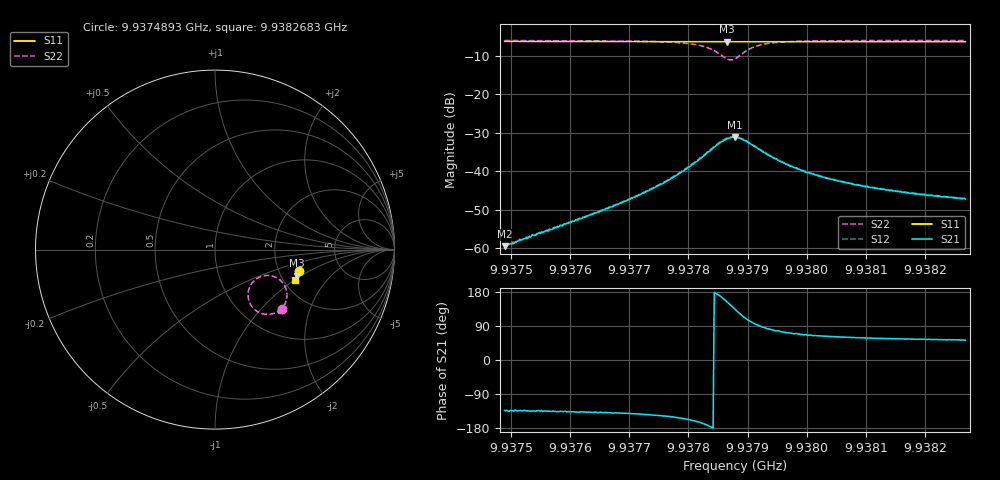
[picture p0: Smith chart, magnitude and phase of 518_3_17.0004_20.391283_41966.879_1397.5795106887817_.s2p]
#  HZ  S  RI  R  50.00
! Rohde & Schwarz Vector Network Analyzer
! Rohde-Schwarz,ZNB20-2Port,1311601062101988,3.16
! Created: UTC 3/20/2024, 11:15:17 PM
! freq[Hz]  re:S11  im:S11  re:S21  im:S21  re:S12  im:S12  re:S22  im:S22
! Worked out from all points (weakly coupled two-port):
!   401 points, 9.9374893 GHz to 9.9382683 GHz, reference 50 ohm
!   highest |S21| = -31.14 dB at 9.9378788 GHz (marker M1); lowest = -59.4 dB at 9.9374893 GHz (marker M2)
!   lowest |S11| = -6.4 dB at 9.9378652 GHz (marker M3), VSWR 2.83, Z = 122 - j45.5 ohm
!   |S11| at or under -10 dB: nowhere
!   |S22| runs from -11.1 to -6.1 dB; largest |S21 - S12| = 0.0012
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9.93748926e9  0.4674 -0.1208  -0.000724 -0.000782  -0.000768 -0.000754  0.3713 -0.3295
9.93750484e9  0.467 -0.1219  -0.000809 -0.000813  -0.000831 -0.000855  0.3699 -0.3308
9.93751652e9  0.4669 -0.1228  -0.000881 -0.000934  -0.000906 -0.000921  0.3688 -0.3319
9.93761975e9  0.4644 -0.1296  -0.00179 -0.00167  -0.00186 -0.00166  0.3555 -0.3414
9.93768987e9  0.4627 -0.1342  -0.00309 -0.00257  -0.00315 -0.00252  0.3409 -0.3501
9.93775025e9  0.461 -0.1385  -0.00548 -0.00365  -0.00564 -0.00362  0.3174 -0.3583
9.93778725e9  0.4598 -0.141  -0.00858 -0.00432  -0.00884 -0.00424  0.29 -0.3608
9.93782231e9  0.4581 -0.1434  -0.0145 -0.00359  -0.0149 -0.0034  0.2413 -0.348
9.93784373e9  0.457 -0.1444  -0.0206 0.000604  -0.0209 0.000942  0.1989 -0.3077
9.93785542e9  0.4561 -0.1446  -0.0235 0.00564  -0.0238 0.0064  0.1844 -0.2626
9.93786516e9  0.4556 -0.1444  -0.0235 0.0118  -0.0238 0.0127  0.191 -0.2141
9.93787295e9  0.4557 -0.1445  -0.0217 0.0167  -0.0214 0.0179  0.2141 -0.1774
9.93787879e9  0.4557 -0.1443  -0.0191 0.02  -0.0187 0.0208  0.2404 -0.1573
9.93788853e9  0.4561 -0.1445  -0.0133 0.023  -0.0126 0.0237  0.2902 -0.1439
9.93790216e9  0.4567 -0.1452  -0.00575 0.0226  -0.00516 0.0229  0.3472 -0.1585
9.93792359e9  0.457 -0.1468  0.000734 0.0184  0.00115 0.0185  0.3892 -0.2028
9.9379567e9  0.4565 -0.1496  0.0035 0.0128  0.00368 0.0129  0.4012 -0.2518
9.93796839e9  0.4564 -0.1505  0.00371 0.0115  0.00397 0.0115  0.4008 -0.2632
9.93800929e9  0.4554 -0.1535  0.00399 0.00841  0.00408 0.00838  0.3953 -0.2893
9.93806772e9  0.4539 -0.1576  0.00353 0.00609  0.00369 0.00614  0.3861 -0.3089
9.93813978e9  0.452 -0.1623  0.0031 0.0047  0.00326 0.0047  0.3774 -0.3227
9.93826833e9  0.4484 -0.1705  0.00267 0.00345  0.00276 0.00349  0.3655 -0.3372
